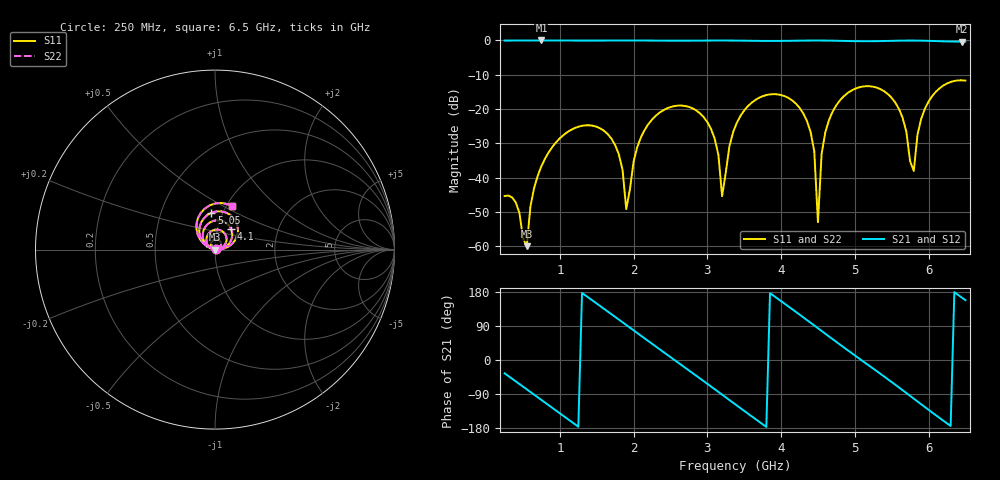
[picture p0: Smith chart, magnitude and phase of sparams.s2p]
! NobuRF kit-ro50-line48: ports 1 "p1", 2 "p2"; 5400 + 5400 steps
# GHz S RI R 50
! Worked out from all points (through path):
!   126 points, 250 MHz to 6.5 GHz, reference 50 ohm
!   highest |S21| = 0.01 dB at 750 MHz (marker M1); lowest = -0.3 dB at 6.45 GHz (marker M2)
!   group delay of S21, straight-line fit = 394 ps
!   lowest |S11| = -60.0 dB at 550 MHz (marker M3), VSWR 1.00, Z = 49.9 - j0.0309 ohm
!   |S11| at or under -10 dB: start of sweep to end of sweep
!   |S22| runs from -60.0 to -11.6 dB; largest |S21 - S12| = 4.6e-07
!   S11 on the Smith chart (normalised r, x): 250 MHz: 1.01, +0.01; 4.1 GHz: 1.17, +0.27; 5.05 GHz: 0.88, +0.38; 6.5 GHz: 1.07, +0.55
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0.25  0.00336 0.00422  0.8147 -0.5745  0.8147 -0.5745  0.00336 0.00422
0.55  -0.000954 -0.000309  0.2197 -0.9757  0.2197 -0.9757  -0.000954 -0.000309
0.75  -0.0142 0.00406  -0.2682 -0.9644  -0.2682 -0.9644  -0.0142 0.00406
1.3  0.0025 0.057  -0.9957 0.0526  -0.9957 0.0526  0.0025 0.057
1.75  0.0268 0.0129  -0.4008 0.915  -0.4008 0.915  0.0268 0.0129
1.9  0.00332 0.00103  -0.0423 0.9987  -0.0423 0.9987  0.00332 0.00103
2.05  -0.0264 0.0096  0.3227 0.9456  0.3227 0.9456  -0.0264 0.0096
2.35  -0.0427 0.0774  0.8727 0.4782  0.8727 0.4782  -0.0427 0.0774
2.95  0.0626 0.0437  0.56 -0.8241  0.56 -0.8241  0.0626 0.0437
3.2  0.00511 0.00167  -0.0252 -0.9983  -0.0252 -0.9983  0.00511 0.00167
3.4  -0.054 0.0329  -0.4986 -0.862  -0.4986 -0.862  -0.054 0.0329
4.1  0.0907 0.1133  -0.7713 0.619  -0.7713 0.619  0.0907 0.1133
4.45  0.0243 0.00229  -0.0188 0.9982  -0.0188 0.9982  0.0243 0.00229
4.5  0.00148 0.00169  0.1073 0.9926  0.1073 0.9926  0.00148 0.00169
4.55  -0.0212 0.00682  0.2315 0.9707  0.2315 0.9707  -0.0212 0.00682
4.65  -0.0608 0.0334  0.4657 0.8796  0.4657 0.8796  -0.0608 0.0334
5.05  -0.0197 0.2054  0.9728 0.0887  0.9728 0.0887  -0.0197 0.2054
5.5  0.1235 0.0773  0.5209 -0.8401  0.5209 -0.8401  0.1235 0.0773
5.8  -0.0116 0.00474  -0.2076 -0.975  -0.2076 -0.975  -0.0116 0.00474
6  -0.0969 0.0846  -0.6527 -0.7417  -0.6527 -0.7417  -0.0969 0.0846
6.45  0.0664 0.2545  -0.9304 0.2492  -0.9304 0.2492  0.0664 0.2545
6.5  0.0961 0.2413  -0.8942 0.3605  -0.8942 0.3605  0.0961 0.2413
